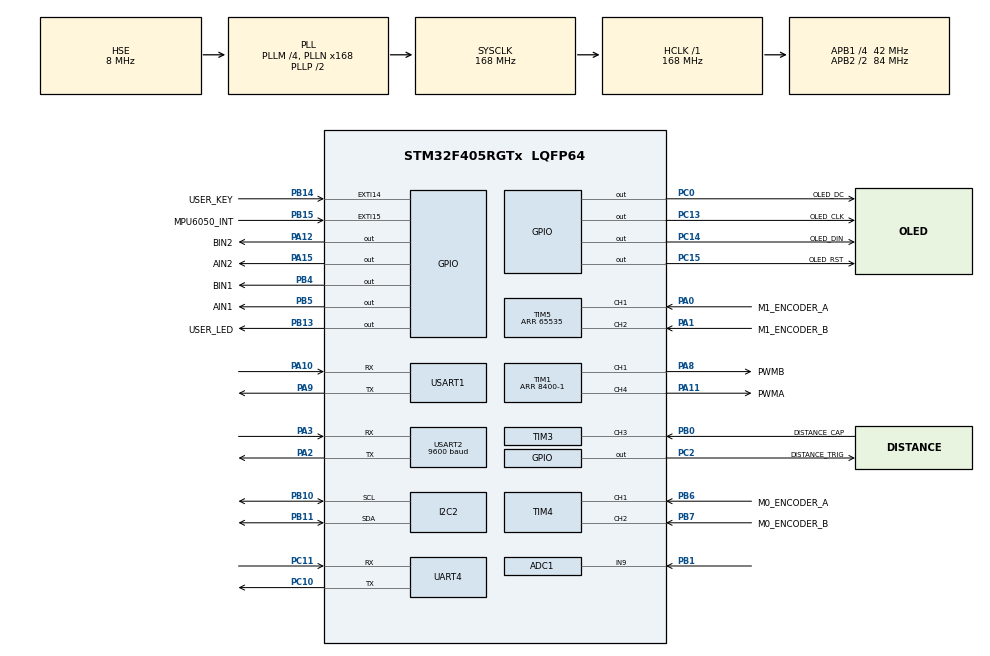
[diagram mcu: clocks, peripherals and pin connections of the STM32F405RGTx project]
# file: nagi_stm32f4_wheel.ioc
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ADC1.Channel-0\#ChannelRegularConversion=ADC_CHANNEL_9
ADC1.ContinuousConvMode=DISABLE
ADC1.NbrOfConversion=1
ADC1.NbrOfConversionFlag=1
ADC1.Rank-0\#ChannelRegularConversion=1
ADC1.SamplingTime-0\#ChannelRegularConversion=ADC_SAMPLETIME_3CYCLES
ADC1.master=1
FREERTOS.BinarySemaphores01=i2cReadySem,Dynamic,NULL,Depleted
FREERTOS.Events01=g_initEvent,Dynamic,NULL;g_keyEvent,Dynamic,NULL
FREERTOS.INCLUDE_xEventGroupSetBitFromISR=1
FREERTOS.Mutexes01=g_ledMutex,Dynamic,NULL,Available
FREERTOS.Tasks01=defaultTask,8,256,StartDefaultTask,Default,NULL,Dynamic,NULL,NULL;ledBlinkTask,8,128,LEDBlinkTask,Default,NULL,Dynamic,NULL,NULL;batReadTask,8,128,BatReadTask,Default,NULL,Dynamic,NULL,NULL;screenTask,8,256,ScreenTask,Default,NULL,Dynamic,NULL,NULL;mpu6050Task,24,256,MPU6050ReadTask,Default,NULL,Dynamic,NULL,NULL
FREERTOS.configENABLE_FPU=1
FREERTOS.configTOTAL_HEAP_SIZE=65535
I2C2.DutyCycle=I2C_DUTYCYCLE_2
I2C2.I2C_Mode=I2C_Fast
Mcu.Family=STM32F4
Mcu.Name=STM32F405RGTx
Mcu.Package=LQFP64
NVIC.EXTI15_10_IRQn=true\:5\:0\:true\:false\:true\:true\:true\:true\:true
NVIC.I2C2_EV_IRQn=true\:5\:0\:true\:false\:true\:true\:true\:true\:true
NVIC.PriorityGroup=NVIC_PRIORITYGROUP_4
NVIC.TIM6_DAC_IRQn=true\:5\:0\:false\:false\:true\:true\:true\:true\:true
NVIC.TIM8_TRG_COM_TIM14_IRQn=true\:5\:0\:false\:false\:true\:false\:false\:true\:true
NVIC.TimeBase=TIM8_TRG_COM_TIM14_IRQn
NVIC.TimeBaseIP=TIM14
NVIC.USART1_IRQn=true\:7\:0\:true\:false\:true\:true\:false\:true\:true
NVIC.USART2_IRQn=true\:5\:0\:true\:false\:true\:true\:true\:true\:true
PA0-WKUP.GPIO_Label=M1_ENCODER_A
PA0-WKUP.GPIO_Speed=GPIO_SPEED_FREQ_VERY_HIGH
PA0-WKUP.Signal=S_TIM5_CH1
PA1.GPIO_Label=M1_ENCODER_B
PA1.GPIO_Speed=GPIO_SPEED_FREQ_VERY_HIGH
PA1.Signal=S_TIM5_CH2
PA10.Mode=Asynchronous
PA10.Signal=USART1_RX
PA11.GPIO_Label=PWMA
PA11.Signal=S_TIM1_CH4
PA12.GPIO_Label=BIN2
PA12.Signal=GPIO_Output
PA13.Mode=Serial_Wire
PA13.Signal=SYS_JTMS-SWDIO
PA14.Mode=Serial_Wire
PA14.Signal=SYS_JTCK-SWCLK
PA15.GPIO_Label=AIN2
PA15.Signal=GPIO_Output
PA2.Mode=Asynchronous
PA2.Signal=USART2_TX
PA3.Mode=Asynchronous
PA3.Signal=USART2_RX
PA8.GPIO_Label=PWMB
PA8.Signal=S_TIM1_CH1
PA9.Mode=Asynchronous
PA9.Signal=USART1_TX
PB0.GPIO_Label=DISTANCE_CAP
PB0.Signal=S_TIM3_CH3
PB1.Signal=ADCx_IN9
PB10.Mode=I2C
PB10.Signal=I2C2_SCL
PB11.Mode=I2C
PB11.Signal=I2C2_SDA
PB13.GPIO_Label=USER_LED
PB13.GPIO_Speed=GPIO_SPEED_FREQ_LOW
PB13.PinState=GPIO_PIN_RESET
PB13.Signal=GPIO_Output
PB14.GPIO_Label=USER_KEY
PB14.GPIO_ModeDefaultEXTI=GPIO_MODE_IT_FALLING
PB14.GPIO_PuPd=GPIO_PULLUP
PB14.Signal=GPXTI14
PB15.GPIO_Label=MPU6050_INT
PB15.GPIO_ModeDefaultEXTI=GPIO_MODE_IT_FALLING
PB15.GPIO_PuPd=GPIO_PULLUP
PB15.Signal=GPXTI15
PB4.GPIO_Label=BIN1
PB4.Signal=GPIO_Output
PB5.GPIO_Label=AIN1
PB5.Signal=GPIO_Output
PB6.GPIO_Label=M0_ENCODER_A
PB6.GPIO_Speed=GPIO_SPEED_FREQ_VERY_HIGH
PB6.Signal=S_TIM4_CH1
PB7.GPIO_Label=M0_ENCODER_B
PB7.GPIO_Speed=GPIO_SPEED_FREQ_VERY_HIGH
PB7.Signal=S_TIM4_CH2
PC0.GPIO_Label=OLED_DC
PC0.GPIO_Speed=GPIO_SPEED_FREQ_LOW
PC0.Signal=GPIO_Output
PC10.Mode=Asynchronous
PC10.Signal=UART4_TX
PC11.Mode=Asynchronous
PC11.Signal=UART4_RX
PC13-ANTI_TAMP.GPIO_Label=OLED_CLK
PC13-ANTI_TAMP.GPIO_Speed=GPIO_SPEED_FREQ_LOW
PC13-ANTI_TAMP.Signal=GPIO_Output
PC14-OSC32_IN.GPIO_Label=OLED_DIN
PC14-OSC32_IN.GPIO_Speed=GPIO_SPEED_FREQ_LOW
PC14-OSC32_IN.Signal=GPIO_Output
PC15-OSC32_OUT.GPIO_Label=OLED_RST
PC15-OSC32_OUT.Signal=GPIO_Output
PC2.GPIO_Label=DISTANCE_TRIG
PC2.Signal=GPIO_Output
PH0-OSC_IN.Mode=HSE-External-Oscillator
PH0-OSC_IN.Signal=RCC_OSC_IN
PH1-OSC_OUT.Mode=HSE-External-Oscillator
PH1-OSC_OUT.Signal=RCC_OSC_OUT
ProjectManager.HeapSize=0x800
ProjectManager.StackSize=0x1000
ProjectManager.TargetToolchain=CMake
RCC.48MHZClocksFreq_Value=84000000
RCC.AHBFreq_Value=168000000
RCC.APB1CLKDivider=RCC_HCLK_DIV4
RCC.APB1Freq_Value=42000000
RCC.APB1TimFreq_Value=84000000
RCC.APB2CLKDivider=RCC_HCLK_DIV2
RCC.APB2Freq_Value=84000000
RCC.APB2TimFreq_Value=168000000
RCC.CortexFreq_Value=168000000
RCC.HCLKFreq_Value=168000000
RCC.HSE_VALUE=8000000
RCC.HSI_VALUE=16000000
RCC.LSE_VALUE=32768
RCC.PLLM=4
RCC.PLLN=168
RCC.PLLSourceVirtual=RCC_PLLSOURCE_HSE
RCC.SYSCLKFreq_VALUE=168000000
RCC.SYSCLKSource=RCC_SYSCLKSOURCE_PLLCLK
RCC.VCOOutputFreq_Value=336000000
SH.ADCx_IN9.0=ADC1_IN9,IN9
SH.S_TIM1_CH1.0=TIM1_CH1,PWM Generation1 CH1
SH.S_TIM1_CH4.0=TIM1_CH4,PWM Generation4 CH4
SH.S_TIM3_CH3.0=TIM3_CH3,Input_Capture3_from_TI3
SH.S_TIM4_CH1.0=TIM4_CH1,Encoder_Interface
SH.S_TIM4_CH2.0=TIM4_CH2,Encoder_Interface
SH.S_TIM5_CH1.0=TIM5_CH1,Encoder_Interface
SH.S_TIM5_CH2.0=TIM5_CH2,Encoder_Interface
TIM1.AutoReloadPreload=TIM_AUTORELOAD_PRELOAD_ENABLE
TIM1.Channel-PWM\ Generation1\ CH1=TIM_CHANNEL_1
TIM1.Channel-PWM\ Generation4\ CH4=TIM_CHANNEL_4
TIM1.Period=8400-1
TIM2.AutoReloadPreload=TIM_AUTORELOAD_PRELOAD_ENABLE
TIM2.Prescaler=84-1
TIM3.Channel-Input_Capture3_from_TI3=TIM_CHANNEL_3
TIM3.Prescaler=84-1
TIM5.Period=65535
TIM6.Period=150 - 1
TIM6.Prescaler=16800 - 1
UART4.VirtualMode=Asynchronous
USART1.VirtualMode=VM_ASYNC
USART2.BaudRate=9600
USART2.VirtualMode=VM_ASYNC
VP_FREERTOS_VS_CMSIS_V2.Mode=CMSIS_V2
VP_SYS_VS_tim14.Mode=TIM14
VP_TIM2_VS_ClockSourceINT.Mode=Internal
VP_TIM6_VS_ClockSourceINT.Mode=Enable_Timer
board=custom

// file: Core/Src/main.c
/* USER CODE BEGIN Header */
/**
  ******************************************************************************
  * @file           : main.c
  * @brief          : Main program body
  ******************************************************************************
  * @attention
  *
  * Copyright (c) 2025 STMicroelectronics.
  * All rights reserved.
  *
  * This software is licensed under terms that can be found in the LICENSE file
  * in the root directory of this software component.
  * If no LICENSE file comes with this software, it is provided AS-IS.
  *
  ******************************************************************************
  */
/* USER CODE END Header */
#include "main.h"
#include "cmsis_os.h"
#include "adc.h"
#include "i2c.h"
#include "tim.h"
#include "usart.h"
#include "gpio.h"

void SystemClock_Config(void);
void MX_FREERTOS_Init(void);

int main(void)
{

  /* MCU Configuration--------------------------------------------------------*/

  /* Reset of all peripherals, Initializes the Flash interface and the Systick. */
  HAL_Init();

  /* Configure the system clock */
  SystemClock_Config();

  /* Initialize all configured peripherals */
  MX_GPIO_Init();
  MX_ADC1_Init();
  MX_UART4_Init();
  MX_USART1_UART_Init();
  MX_I2C2_Init();
  MX_TIM4_Init();
  MX_TIM5_Init();
  MX_TIM1_Init();
  MX_TIM6_Init();
  MX_TIM2_Init();
  MX_USART2_UART_Init();
  MX_TIM3_Init();

  /* Init scheduler */
  osKernelInitialize();

  /* Call init function for freertos objects (in cmsis_os2.c) */
  MX_FREERTOS_Init();

  /* Start scheduler */
  osKernelStart();

  /* We should never get here as control is now taken by the scheduler */

  /* Infinite loop */
  while (1)
  {

  }
}

void SystemClock_Config(void)
{
  RCC_OscInitTypeDef RCC_OscInitStruct = {0};
  RCC_ClkInitTypeDef RCC_ClkInitStruct = {0};

  /** Configure the main internal regulator output voltage
  */
  __HAL_RCC_PWR_CLK_ENABLE();
  __HAL_PWR_VOLTAGESCALING_CONFIG(PWR_REGULATOR_VOLTAGE_SCALE1);

  /** Initializes the RCC Oscillators according to the specified parameters
  * in the RCC_OscInitTypeDef structure.
  */
  RCC_OscInitStruct.OscillatorType = RCC_OSCILLATORTYPE_HSE;
  RCC_OscInitStruct.HSEState = RCC_HSE_ON;
  RCC_OscInitStruct.PLL.PLLState = RCC_PLL_ON;
  RCC_OscInitStruct.PLL.PLLSource = RCC_PLLSOURCE_HSE;
  RCC_OscInitStruct.PLL.PLLM = 4;
  RCC_OscInitStruct.PLL.PLLN = 168;
  RCC_OscInitStruct.PLL.PLLP = RCC_PLLP_DIV2;
  RCC_OscInitStruct.PLL.PLLQ = 4;
  if (HAL_RCC_OscConfig(&RCC_OscInitStruct) != HAL_OK)
  {
    Error_Handler();
  }

  /** Initializes the CPU, AHB and APB buses clocks
  */
  RCC_ClkInitStruct.ClockType = RCC_CLOCKTYPE_HCLK|RCC_CLOCKTYPE_SYSCLK
                              |RCC_CLOCKTYPE_PCLK1|RCC_CLOCKTYPE_PCLK2;
  RCC_ClkInitStruct.SYSCLKSource = RCC_SYSCLKSOURCE_PLLCLK;
  RCC_ClkInitStruct.AHBCLKDivider = RCC_SYSCLK_DIV1;
  RCC_ClkInitStruct.APB1CLKDivider = RCC_HCLK_DIV4;
  RCC_ClkInitStruct.APB2CLKDivider = RCC_HCLK_DIV2;

  if (HAL_RCC_ClockConfig(&RCC_ClkInitStruct, FLASH_LATENCY_5) != HAL_OK)
  {
    Error_Handler();
  }
}

/* USER CODE BEGIN 4 */
extern void HAL_TIM6_PeriodElapsedCallback(TIM_HandleTypeDef *htim);
/* USER CODE END 4 */

void HAL_TIM_PeriodElapsedCallback(TIM_HandleTypeDef *htim)
{
  if (htim->Instance == TIM14) {
    HAL_IncTick();
  }
  /* USER CODE BEGIN Callback 1 */
  if (htim->Instance == TIM6) {
    HAL_TIM6_PeriodElapsedCallback(htim);
  }
  /* USER CODE END Callback 1 */
}

void Error_Handler(void)
{
  __disable_irq();
  while (1)
  {
  }
}

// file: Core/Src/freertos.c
/* USER CODE BEGIN Header */
/**
  ******************************************************************************
  * File Name          : freertos.c
  * Description        : Code for freertos applications
  ******************************************************************************
  * @attention
  *
  * Copyright (c) 2025 STMicroelectronics.
  * All rights reserved.
  *
  * This software is licensed under terms that can be found in the LICENSE file
  * in the root directory of this software component.
  * If no LICENSE file comes with this software, it is provided AS-IS.
  *
  ******************************************************************************
  */
/* USER CODE END Header */

#include "FreeRTOS.h"
#include "task.h"
#include "main.h"
#include "cmsis_os.h"

/* USER CODE BEGIN Includes */
#include <assert.h>
#include <stdio.h>
#include <stdbool.h>
#include <atomic.h>

#include "adc.h"
#include "usart.h"
#include "i2c.h"
#include "tim.h"

#include "Devices/oled.h"
#include "Devices/led_blink.h"
#include "Devices/mpu6050.h"

#include "Tasks/screen.h"
#include "Tasks/control.h"
/* USER CODE END Includes */

/* USER CODE BEGIN Variables */
/// @brief Format string buffer for printf.
__attribute__((section(".ccmram"))) char g_fmt_string[4 * 1024];

/// @brief LED blink structure.
LEDBlink_t g_led_blink;

/// @brief Global battery voltage.
uint32_t g_battery_voltage = 0;

/// @brief MPU6050 structure.
MPU6050_t g_mpu6050;

/// @brief PWMMotor structure.
PWMMotor_t g_motor[2];

/* USER CODE END Variables */
/* Definitions for defaultTask */
osThreadId_t defaultTaskHandle;
const osThreadAttr_t defaultTask_attributes = {
  .name = "defaultTask",
  .stack_size = 256 * 4,
  .priority = (osPriority_t) osPriorityLow,
};
/* Definitions for ledBlinkTask */
osThreadId_t ledBlinkTaskHandle;
const osThreadAttr_t ledBlinkTask_attributes = {
  .name = "ledBlinkTask",
  .stack_size = 128 * 4,
  .priority = (osPriority_t) osPriorityLow,
};
/* Definitions for batReadTask */
osThreadId_t batReadTaskHandle;
const osThreadAttr_t batReadTask_attributes = {
  .name = "batReadTask",
  .stack_size = 128 * 4,
  .priority = (osPriority_t) osPriorityLow,
};
/* Definitions for screenTask */
osThreadId_t screenTaskHandle;
const osThreadAttr_t screenTask_attributes = {
  .name = "screenTask",
  .stack_size = 256 * 4,
  .priority = (osPriority_t) osPriorityLow,
};
/* Definitions for mpu6050Task */
osThreadId_t mpu6050TaskHandle;
const osThreadAttr_t mpu6050Task_attributes = {
  .name = "mpu6050Task",
  .stack_size = 256 * 4,
  .priority = (osPriority_t) osPriorityNormal,
};
/* Definitions for g_ledMutex */
osMutexId_t g_ledMutexHandle;
const osMutexAttr_t g_ledMutex_attributes = {
  .name = "g_ledMutex"
};
/* Definitions for i2cReadySem */
osSemaphoreId_t i2cReadySemHandle;
const osSemaphoreAttr_t i2cReadySem_attributes = {
  .name = "i2cReadySem"
};
/* Definitions for g_initEvent */
osEventFlagsId_t g_initEventHandle;
const osEventFlagsAttr_t g_initEvent_attributes = {
  .name = "g_initEvent"
};
/* Definitions for g_keyEvent */
osEventFlagsId_t g_keyEventHandle;
const osEventFlagsAttr_t g_keyEvent_attributes = {
  .name = "g_keyEvent"
};

/* USER CODE BEGIN FunctionPrototypes */
void led_write(uint8_t state);
void led_delay(uint32_t delay_time);
void led_lock(void);
void led_unlock(void);
int32_t mpu6050_read(uint8_t addr, uint8_t reg, uint8_t *data, uint16_t size);
int32_t mpu6050_write(uint8_t addr, uint8_t reg, uint8_t *data, uint16_t size);
void set_m0_dir(int8_t dir);
void set_m0_pwm(uint32_t pwm);
void set_m1_dir(int8_t dir);
void set_m1_pwm(uint32_t pwm);
/* USER CODE END FunctionPrototypes */

void StartDefaultTask(void *argument);
void LEDBlinkTask(void *argument);
void BatReadTask(void *argument);
void ScreenTask(void *argument);
void MPU6050ReadTask(void *argument);

void MX_FREERTOS_Init(void); /* (MISRA C 2004 rule 8.1) */

void MX_FREERTOS_Init(void) {
  /* Create the mutex(es) */
  /* creation of g_ledMutex */
  g_ledMutexHandle = osMutexNew(&g_ledMutex_attributes);

  /* Create the semaphores(s) */
  /* creation of i2cReadySem */
  i2cReadySemHandle = osSemaphoreNew(1, 0, &i2cReadySem_attributes);

  /* Create the thread(s) */
  /* creation of defaultTask */
  defaultTaskHandle = osThreadNew(StartDefaultTask, NULL, &defaultTask_attributes);

  /* creation of ledBlinkTask */
  ledBlinkTaskHandle = osThreadNew(LEDBlinkTask, NULL, &ledBlinkTask_attributes);

  /* creation of batReadTask */
  batReadTaskHandle = osThreadNew(BatReadTask, NULL, &batReadTask_attributes);

  /* creation of screenTask */
  screenTaskHandle = osThreadNew(ScreenTask, NULL, &screenTask_attributes);

  /* creation of mpu6050Task */
  mpu6050TaskHandle = osThreadNew(MPU6050ReadTask, NULL, &mpu6050Task_attributes);

  /* USER CODE BEGIN RTOS_THREADS */
  // Pause the LED blink task.
  /* add threads, ... */
  /* USER CODE END RTOS_THREADS */

  /* creation of g_initEvent */
  g_initEventHandle = osEventFlagsNew(&g_initEvent_attributes);

  /* creation of g_keyEvent */
  g_keyEventHandle = osEventFlagsNew(&g_keyEvent_attributes);

}

void StartDefaultTask(void *argument)
{
  /* USER CODE BEGIN StartDefaultTask */
  UNUSED(argument);

  // Initialize OLED.
  OLED_Init();
  OLED_Display_On();
  osEventFlagsSet(g_initEventHandle, OLED_INIT_FLAG_BIT);

  // Initialize LED blink.
  assert(LEDBlink_Init(&g_led_blink, led_write, led_delay, led_lock, led_unlock, 0) == LED_BLINK_ERROR_OK);
  assert(LEDBlink_SetDelayTime(&g_led_blink, 0, 500) == LED_BLINK_ERROR_OK);
  osEventFlagsSet(g_initEventHandle, LED_BLINK_INIT_FLAG_BIT);

  // Initialize battery read.
  osEventFlagsSet(g_initEventHandle, BAT_READ_INIT_FLAG_BIT);

  // Initialize MPU6050.
  int ret = MPU6050_Init(&g_mpu6050, mpu6050_read, mpu6050_write, MPU6050_DEFAULT_ADDRESS);
  if (ret != MPU6050_ERROR_OK) {
    printf("MPU6050_Init failed: %d\n", ret);
  } else {
    uint8_t device_id;
    ret = MPU6050_GetDeviceID(&g_mpu6050, &device_id);
    if (ret == MPU6050_ERROR_OK && device_id == 0x68) {
      MPU6050_SetResetBit(&g_mpu6050, 1);
      osDelay(pdMS_TO_TICKS(100));
      MPU6050_SetResetBit(&g_mpu6050, 0);
      MPU6050_SetClockSource(&g_mpu6050, MPU6050_CLOCK_PLL_YGYRO);
      MPU6050_SetFullScaleGyroRange(&g_mpu6050, MPU6050_GYRO_FS_2000);
      MPU6050_SetFullScaleAccelRange(&g_mpu6050, MPU6050_ACCEL_FS_2);
      MPU6050_SetSleepEnabled(&g_mpu6050, 0);
      MPU6050_SetI2CMasterModeEnabled(&g_mpu6050, 0);
      MPU6050_SetI2CByPassEnabled(&g_mpu6050, 0);
      MPU6050_SetDLPF(&g_mpu6050, MPU6050_DLPF_BW_42);
      MPU6050_SetSampleRateDivider(&g_mpu6050, 0);
      MPU6050_SetTemperatureFIFOEnable(&g_mpu6050, 0);
      MPU6050_SetTemperatureEnable(&g_mpu6050, 1);
      MPU6050_SetAccelAndGyroStandby(&g_mpu6050, 0);
      MPU6050_SetAccelAndGyroFIFOEnable(&g_mpu6050, 0);
      MPU6050_SetInterruptLevel(&g_mpu6050, 0);
      MPU6050_SetInterruptOpenDrain(&g_mpu6050, 1);
      MPU6050_SetInterruptLatchEnable(&g_mpu6050, 0);
      MPU6050_SetInterruptClearOnRead(&g_mpu6050, 1);
      MPU6050_SetFSyncInterruptEnabled(&g_mpu6050, 0);
      MPU6050_ResetFIFOBuffer(&g_mpu6050);
      MPU6050_EnableFIFOBuffer(&g_mpu6050, 0);
      MPU6050_SetInterruptEnable(&g_mpu6050, 1);

      osEventFlagsSet(g_initEventHandle, MPU6050_INIT_FLAG_BIT);
    } else {
      printf("MPU6050_GetDeviceID failed: %d\n", ret);
    }
  }

  // Initialize PWM motors.
  assert(PWMMotor_Init(&g_motor[0], set_m0_dir, set_m0_pwm) == PWM_MOTOR_ERROR_OK);
  assert(PWMMotor_Init(&g_motor[1], set_m1_dir, set_m1_pwm) == PWM_MOTOR_ERROR_OK);
  PWMMotor_Run(&g_motor[0], 0, 0);
  PWMMotor_Run(&g_motor[1], 0, 0);

  /* Infinite loop */
  for(;;)
  {
    osDelay(pdMS_TO_TICKS(1000));
  }
  /* USER CODE END StartDefaultTask */
}

void LEDBlinkTask(void *argument)
{
  /* USER CODE BEGIN LEDBlinkTask */
  UNUSED(argument);
  osEventFlagsWait(g_initEventHandle, LED_BLINK_INIT_FLAG_BIT, osFlagsWaitAny | osFlagsNoClear, osWaitForever);

  /* Infinite loop */
  LEDBlink_Loop(&g_led_blink);
  /* USER CODE END LEDBlinkTask */
}

void BatReadTask(void *argument)
{
  /* USER CODE BEGIN BatReadTask */
  UNUSED(argument);
  #define WINDOW_SIZE 20
  static __attribute__((section(".ccmram"))) float buffer[WINDOW_SIZE];
  static __attribute__((section(".ccmram"))) uint8_t index;
  static __attribute__((section(".ccmram"))) float sum;
  static __attribute__((section(".ccmram"))) float battery_voltage;

  osEventFlagsWait(g_initEventHandle, BAT_READ_INIT_FLAG_BIT, osFlagsWaitAny | osFlagsNoClear, osWaitForever);

  index = 0;
  sum = 0;

  // Fill the buffer with initial values.
  for (uint8_t i = 0; i < WINDOW_SIZE; i++) {
    HAL_ADC_Start(&hadc1);
    HAL_ADC_PollForConversion(&hadc1, HAL_MAX_DELAY);
    uint32_t raw_value = HAL_ADC_GetValue(&hadc1);
    float b = (float)(raw_value * 330 * 11) / 409.6f; // mV
    buffer[i] = b;
    sum += b;
    osDelay(pdMS_TO_TICKS(50));
  }

  battery_voltage = sum / WINDOW_SIZE;

  /* Infinite loop */
  for (;;) {
    HAL_ADC_Start(&hadc1);
    HAL_ADC_PollForConversion(&hadc1, HAL_MAX_DELAY);
    uint32_t raw_value = HAL_ADC_GetValue(&hadc1);
    float b = (float)(raw_value * 330 * 11) / 409.6f; // mV

    sum -= buffer[index];
    buffer[index] = b;
    sum += b;

    index = (index + 1) % WINDOW_SIZE;

    battery_voltage = sum / WINDOW_SIZE;

    Atomic_CompareAndSwap_u32(&g_battery_voltage, (uint32_t)battery_voltage, g_battery_voltage);

    osDelay(pdMS_TO_TICKS(50));
  }
  /* USER CODE END BatReadTask */
}

void ScreenTask(void *argument)
{
  /* USER CODE BEGIN ScreenTask */
  UNUSED(argument);

  osEventFlagsWait(g_initEventHandle, OLED_INIT_FLAG_BIT, osFlagsWaitAny | osFlagsNoClear, osWaitForever);

  /* Infinite loop */
  for (;;) {
    Screen_Update();
    osDelay(pdMS_TO_TICKS(100));
  }
  /* USER CODE END ScreenTask */
}

void MPU6050ReadTask(void *argument)
{
  /* USER CODE BEGIN MPU6050ReadTask */
  UNUSED(argument);

  g_velocity_pid.Kp = 0.05f;
  g_velocity_pid.Ki = 0.00002f;
  g_velocity_pid.Kd = 0.0045f;
  arm_pid_init_f32(&g_velocity_pid, 1);
  g_pitch_angle_pid.Kp = 120.f;
  g_pitch_angle_pid.Ki = 4.f;
  g_pitch_angle_pid.Kd = 50.f;
  arm_pid_init_f32(&g_pitch_angle_pid, 1);
  g_pitch_rate_pid.Kp = 1.f;
  g_pitch_rate_pid.Ki = 0.f;
  g_pitch_rate_pid.Kd = 8.f;
  arm_pid_init_f32(&g_pitch_rate_pid, 1);
  g_turn_pid.Kp = 3.f;
  g_turn_pid.Ki = 0.f;
  g_turn_pid.Kd = 1.f;
  arm_pid_init_f32(&g_turn_pid, 1);

  osEventFlagsWait(g_initEventHandle, MPU6050_INIT_FLAG_BIT, osFlagsWaitAny | osFlagsNoClear, osWaitForever);

  /* Infinite loop */
  for(;;)
  {
    uint32_t flags = osThreadFlagsWait(0x01, osFlagsWaitAny, osWaitForever);
    if ((flags & 0x80000000) == 0) {
      Control_Update();
    }
  }
  /* USER CODE END MPU6050ReadTask */
}

/* USER CODE BEGIN Application */
void led_write(uint8_t state) {
  HAL_GPIO_WritePin(USER_LED_GPIO_Port, USER_LED_Pin, state);
}

void led_delay(uint32_t delay_time) {
  osDelay(pdMS_TO_TICKS(delay_time));
}

void led_lock(void) {
  osMutexAcquire(g_ledMutexHandle, osWaitForever);
}

void led_unlock(void) {
  osMutexRelease(g_ledMutexHandle);
}

int32_t mpu6050_read(uint8_t addr, uint8_t reg, uint8_t *data, uint16_t size) {
  HAL_StatusTypeDef status = HAL_I2C_Mem_Read_IT(&hi2c2, addr << 1, reg, I2C_MEMADD_SIZE_8BIT, data, size);
  if (status != HAL_OK) {
    printf("mpu6050_read failed: %d\n", status);
  }
  osStatus_t wait_status = osSemaphoreAcquire(i2cReadySemHandle, pdMS_TO_TICKS(1000));
  if (wait_status != osOK) {
    printf("mpu6050_read timeout: %d\n", wait_status);
    return wait_status;
  }
  return status;
}

int32_t mpu6050_write(uint8_t addr, uint8_t reg, uint8_t *data, uint16_t size) {
  HAL_StatusTypeDef status = HAL_I2C_Mem_Write_IT(&hi2c2, addr << 1, reg, I2C_MEMADD_SIZE_8BIT, data, size);
  if (status != HAL_OK) {
    printf("mpu6050_write failed: %d\n", status);
  }
  osStatus_t wait_status = osSemaphoreAcquire(i2cReadySemHandle, pdMS_TO_TICKS(1000));
  if (wait_status != osOK) {
    printf("mpu6050_write timeout: %d\n", wait_status);
    return wait_status;
  }
  return status;
}

void set_m0_dir(int8_t dir) {
  switch (dir) {
    case 1:
      HAL_GPIO_WritePin(BIN1_GPIO_Port, BIN1_Pin, GPIO_PIN_SET);
      HAL_GPIO_WritePin(BIN2_GPIO_Port, BIN2_Pin, GPIO_PIN_RESET);
      break;
    case -1:
      HAL_GPIO_WritePin(BIN1_GPIO_Port, BIN1_Pin, GPIO_PIN_RESET);
      HAL_GPIO_WritePin(BIN2_GPIO_Port, BIN2_Pin, GPIO_PIN_SET);
      break;
    default:
      HAL_GPIO_WritePin(BIN1_GPIO_Port, BIN1_Pin, GPIO_PIN_RESET);
      HAL_GPIO_WritePin(BIN2_GPIO_Port, BIN2_Pin, GPIO_PIN_RESET);
      break;
  }
}

void set_m0_pwm(uint32_t pwm) {
  __HAL_TIM_SET_COMPARE(&htim1, TIM_CHANNEL_1, pwm);
}

void set_m1_dir(int8_t dir) {
  switch (dir) {
    case -1:
      HAL_GPIO_WritePin(AIN1_GPIO_Port, AIN1_Pin, GPIO_PIN_SET);
      HAL_GPIO_WritePin(AIN2_GPIO_Port, AIN2_Pin, GPIO_PIN_RESET);
      break;
    case 1:
      HAL_GPIO_WritePin(AIN1_GPIO_Port, AIN1_Pin, GPIO_PIN_RESET);
      HAL_GPIO_WritePin(AIN2_GPIO_Port, AIN2_Pin, GPIO_PIN_SET);
      break;
    default:
      HAL_GPIO_WritePin(AIN1_GPIO_Port, AIN1_Pin, GPIO_PIN_RESET);
      HAL_GPIO_WritePin(AIN2_GPIO_Port, AIN2_Pin, GPIO_PIN_RESET);
      break;
  }
}

void set_m1_pwm(uint32_t pwm) {
  __HAL_TIM_SET_COMPARE(&htim1, TIM_CHANNEL_4, pwm);
}

void HAL_I2C_MemRxCpltCallback(I2C_HandleTypeDef *hi2c) {
  if (hi2c->Instance == I2C2)
    osSemaphoreRelease(i2cReadySemHandle);
}

void HAL_I2C_MemTxCpltCallback(I2C_HandleTypeDef *hi2c) {
  if (hi2c->Instance == I2C2)
    osSemaphoreRelease(i2cReadySemHandle);
}

static __attribute__((section(".ccmram"))) bool s_is_key_pressed = false;
void HAL_GPIO_EXTI_Callback(uint16_t GPIO_Pin) {
  if (GPIO_Pin == MPU6050_INT_Pin) {
    osThreadFlagsSet(mpu6050TaskHandle, 0x01);
  }
  if (GPIO_Pin == USER_KEY_Pin) {
    s_is_key_pressed = true;

    EXTI->IMR &= ~(USER_KEY_Pin);
    HAL_TIM_Base_Start_IT(&htim6);
  }
}

void HAL_TIM6_PeriodElapsedCallback(TIM_HandleTypeDef *htim) {
  UNUSED(htim);
  if (s_is_key_pressed) {
    if (HAL_GPIO_ReadPin(USER_KEY_GPIO_Port, USER_KEY_Pin) == GPIO_PIN_RESET) {
      osEventFlagsSet(g_keyEventHandle, USER_KEY_FLAG_BIT);
    }

    s_is_key_pressed = false;

    __HAL_GPIO_EXTI_CLEAR_IT(USER_KEY_Pin);
    EXTI->IMR |= USER_KEY_Pin;

    HAL_TIM_Base_Stop_IT(&htim6);
  }
}

#ifdef __GNUC__
  #define PUTCHAR_PROTOTYPE int __io_putchar(int ch)
#else
  #define PUTCHAR_PROTOTYPE int fputc(int ch, FILE *f)
#endif /* __GNUC__ */

PUTCHAR_PROTOTYPE
{
  HAL_UART_Transmit(&huart1, (uint8_t *)&ch, 1, HAL_MAX_DELAY);
  return ch;
}

#ifdef __GNUC__
  #define GETCHAR_PROTOTYPE int __io_getchar(void)
#else
  #define GETCHAR_PROTOTYPE int fgetc(FILE *f)
#endif /* __GNUC__ */

GETCHAR_PROTOTYPE
{
  uint8_t ch = 0;
  HAL_UART_Receive(&huart1, &ch, 1, HAL_MAX_DELAY);
  return ch;
}
/* USER CODE END Application */
